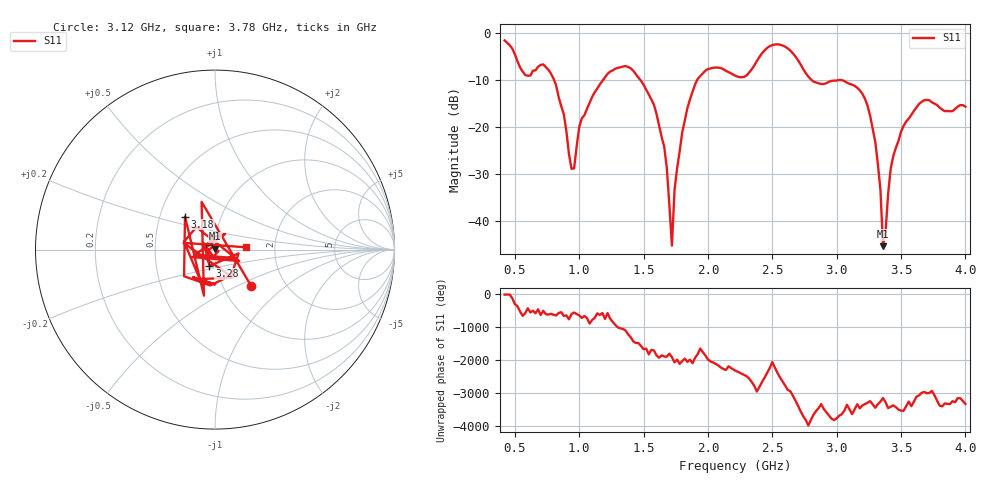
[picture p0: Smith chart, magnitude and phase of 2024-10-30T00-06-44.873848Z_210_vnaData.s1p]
!Created with skrf (http://scikit-rf.org).
# Hz S RI R 50.0
!freq ReS11 ImS11
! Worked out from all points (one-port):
!   180 points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, 420 MHz to 4 GHz, reference 50 ohm
!   lowest |S11| = -45.3 dB at 3.36 GHz (marker M1), VSWR 1.01, Z = 50.1 + j0.541 ohm
!   |S11| at or under -10 dB: 805.5 MHz to 1.183 GHz (377.1 MHz wide, 37.9 % of centre); 1.477 GHz to 1.915 GHz (437.2 MHz wide, 25.8 % of centre); 3.047 GHz to end of sweep (the widest 3 of 4)
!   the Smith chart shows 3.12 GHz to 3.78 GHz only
!   S11 on the Smith chart (normalised r, x): 3.12 GHz: 1.35, -0.60; 3.18 GHz: 0.67, +0.26; 3.28 GHz: 0.93, -0.17; 3.78 GHz: 1.42, +0.04
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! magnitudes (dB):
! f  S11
! 420 MHz  -1.5
! 580 MHz  -8.8
! 760 MHz  -7.7
! 880 MHz  -17.2
! 940 MHz  -28.8
! 960 MHz  -28.7
! 1.02 GHz  -18.0
! 1.32 GHz  -7.2
! 1.58 GHz  -15.2
! 1.66 GHz  -24.1
! 1.72 GHz  -45.2
! 1.74 GHz  -33.4
! 1.78 GHz  -25.1
! 1.84 GHz  -15.9
! 1.92 GHz  -9.7
! 2.22 GHz  -9.1
! 2.5 GHz  -2.5
! 2.66 GHz  -4.2
! 2.82 GHz  -10.2
! 3.12 GHz  -10.9
! 3.18 GHz  -12.1
! 3.28 GHz  -20.3
! 3.34 GHz  -33.3
! 3.36 GHz  -45.3
! 3.42 GHz  -28.7
! 3.56 GHz  -18.1
! 3.78 GHz  -15.2
! 4 GHz  -15.6
